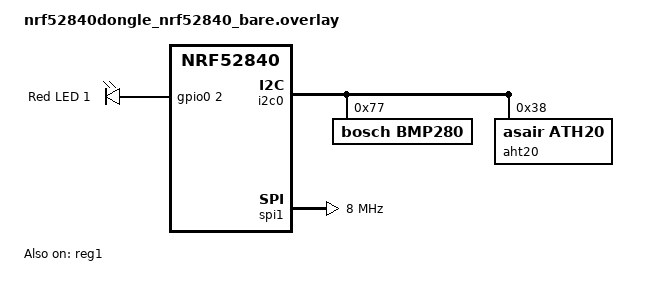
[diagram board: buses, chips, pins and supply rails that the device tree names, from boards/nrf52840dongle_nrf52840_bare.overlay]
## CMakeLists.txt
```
# SPDX-License-Identifier: Apache-2.0

cmake_minimum_required(VERSION 3.20.0)
find_package(Zephyr REQUIRED HINTS $ENV{ZEPHYR_BASE})
project(BtHome)

set(TARGET app)
add_subdirectory(drivers)
add_subdirectory(library/bmp280)
add_subdirectory(library/aht20)
include_directories($<BUILD_INTERFACE:${CMAKE_CURRENT_SOURCE_DIR}/include>
                    $<BUILD_INTERFACE:${CMAKE_CURRENT_SOURCE_DIR}/library/bmp280/include>
                    $<BUILD_INTERFACE:${CMAKE_CURRENT_SOURCE_DIR}/library/aht20/include>
                    #$<BUILD_INTERFACE:${CMAKE_CURRENT_SOURCE_DIR}/library/waveshare/include>
                    $<BUILD_INTERFACE:${CMAKE_CURRENT_SOURCE_DIR}/drivers/include>
                    $<BUILD_INTERFACE:${CMAKE_CURRENT_SOURCE_DIR}/images>)
target_sources(${TARGET} PRIVATE
  src/main.cpp
  src/interface.c
  src/display.cpp
  images/dashboard.c
  )
#target_link_directories(${TARGET} PRIVATE ~/project/build/library/bmp280)
target_link_libraries(${TARGET} PRIVATE drivers bmp280 aht20)
```

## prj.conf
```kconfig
#
# Copyright (c) 2023 Nordic Semiconductor ASA
#
# SPDX-License-Identifier: Apache-2.0
#

CONFIG_BT=y
CONFIG_BT_PERIPHERAL=y
CONFIG_BT_DEVICE_NAME="BTHome"
CONFIG_CPP=y
CONFIG_I2C=y
CONFIG_SPI=y
CONFIG_GPIO=y

CONFIG_LOG=y
#CONFIG_LOG_MODE_IMMEDIATE=y
CONFIG_BT_LOG_LEVEL_INF=y
CONFIG_BT_CTLR_ADVANCED_FEATURES=y
CONFIG_BT_CTLR_ASSERT_OVERHEAD_START=n
CONFIG_CBPRINTF_FP_SUPPORT=y
CONFIG_MAIN_STACK_SIZE=4096

# LVGL - minimal build, only the label widget enabled
CONFIG_DISPLAY=y
CONFIG_LVGL=y
CONFIG_LV_CONF_MINIMAL=y 
CONFIG_LV_USE_LABEL=y
CONFIG_LV_USE_IMAGE=y
CONFIG_LV_Z_MEM_POOL_SIZE=24000
# Render the whole 300x400 screen in a single buffer/flush instead of
# chunking into multiple VDB-sized bands (the default 10%). Bands
# beyond the first have been observed to get the wrong, byte-rounded
# width from LVGL's chunk-splitting path even though the equivalent
# single-region write is correct - going single-shot sidesteps that
# entirely. 300*400/8 + 8 = 15008 bytes; MEM_POOL_SIZE bumped above to
# fit it plus headroom for other LVGL allocations.
#CONFIG_LV_Z_AUTO_INIT=n
CONFIG_LV_Z_VDB_SIZE=100
CONFIG_MAIN_STACK_SIZE=4096
CONFIG_LV_COLOR_DEPTH_1=y
CONFIG_LV_USE_THEME_MONO=y
#CONFIG_DISPLAY_LOG_LEVEL_DBG=y
CONFIG_LV_FONT_MONTSERRAT_36=y
CONFIG_LV_FONT_DEFAULT_MONTSERRAT_36=y
CONFIG_DISPLAY_COLOR_PALETTE=n


#CONFIG_KERNEL_LOG_LEVEL_DBG=y
CONFIG_THREAD_NAME=y
CONFIG_USB_DEVICE_STACK_NEXT=n
```

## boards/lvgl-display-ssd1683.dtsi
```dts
/*
 * Copyright (c) 2025 Cactus Engineering S.L
 *
 * SPDX-License-Identifier: Apache-2.0
 *
 * Common devicetree fragment wiring up the Solomon Systech SSD1683
 * EPD controller (4.2inch e-Paper panel, 400x300 marketed / 300x400
 * native per the driver's quirks bounds - see the width/height note
 * below) over MIPI-DBI Mode C (4-wire SPI), using Zephyr's mainline
 * drivers/display/ssd16xx.c. Support for "solomon,ssd1683" is now provided
 * natively by upstream Zephyr `main` - see drivers/display/Kconfig.ssd16xx
 * and drivers/display/ssd16xx.c. (It previously had to be backported
 * locally; see Docs/SSD1683_bringup_bugs_and_fixes.md #1.)
 *
 * "spi1" must already be configured (pinctrl, cs-gpios, status =
 * "okay") by the including board overlay, same as lvgl-display.dtsi
 * and lvgl-display-uc8176.dtsi require today.
 *
 * Only one panel's fragment (this one, lvgl-display.dtsi, or
 * lvgl-display-uc8176.dtsi) should be included by a given board
 * overlay - only one chosen zephyr,display can be active per build.
 */

/ {
	chosen {
		zephyr,display = &epd_ssd1683;
	};

	mipi_dbi_epd_ssd1683: mipi_dbi_epd_ssd1683 {
		compatible = "zephyr,mipi-dbi-spi";
		spi-dev = <&spi1>;
		#address-cells = <1>;
		#size-cells = <0>;
		write-only;
		dc-gpios = <&gpio0 29 GPIO_ACTIVE_HIGH>;  /* 22 */
		reset-gpios = <&gpio0 3 GPIO_ACTIVE_LOW>; /* 26 */

		epd_ssd1683: ssd1683@0 {
			compatible = "solomon,ssd1683";
			reg = <0>;
			mipi-max-frequency = <4000000>;			

			/*
			 * Unlike JD79661/UC81xx (active low), the BUSY
			 * pin of SSD16XX is active HIGH per
			 * solomon,ssd16xx-common.yaml - active high is
			 * correct here for a direct connection, no
			 * inversion needed.
			 */
			busy-gpios = <&gpio0 28 GPIO_ACTIVE_HIGH>; /* 24 */

			/*
			 * Selects the controller's internal temperature
			 * sensor (0x80, matching both Waveshare's official
			 * EPD_4in2_V2.c reference driver and the real
			 * "beaglebadge" board upstream that also uses this
			 * chip family). Without this, ssd16xx.c's
			 * load_temp/LOAD_TEMPERATURE gating (see
			 * ssd16xx_update_display() and ssd16xx_load_lut() in
			 * ssd16xx.c) stays false, so every refresh runs
			 * without the LOAD_TEMPERATURE bit set in the Display
			 * Update Control 2 command and falls back to
			 * ssd16xx_load_ws_from_otp()'s hardcoded generic 25C
			 * waveform load instead of a real sensor-selected one.
			 * Confirmed by computing the actual byte our driver
			 * sends for that command: without tssv it's 0xD7/0xDF
			 * for full/partial; Waveshare's reference sends
			 * 0xF7/0xFF for the equivalent calls - the only
			 * difference is this exact bit.
			 */
			tssv = <0x80>;

			/*
			 * Panel is native 300x400 portrait; keep width/
			 * height at that native, proven-safe size (matches
			 * the quirks bounds - see the comment below) rather
			 * than declaring the swapped 400x300 landscape size
			 * directly. `rotation` handles the landscape mapping
			 * instead: it makes ssd16xx_set_window()'s bounds
			 * check transpose which axis desc->width/height get
			 * validated against (x/width vs. panel_h,
			 * config->height rounded to a page boundary; y/height
			 * vs. config->width - see ssd16xx_write() in
			 * ssd16xx.c), and ssd16xx_get_capabilities() has been
			 * updated to report x_resolution/y_resolution
			 * transposed to match for ROTATED_90/270, so LVGL
			 * sees a genuine 400x300 (well, panel_h x
			 * config->width) landscape canvas with no LVGL-side
			 * rotation needed (that was tried and reverted - see
			 * main.c and prj.conf: LV_DISPLAY_RENDER_MODE_FULL,
			 * required by lv_display_set_matrix_rotation(),
			 * bypasses the rounder callback our
			 * SCREEN_INFO_X_ALIGNMENT_WIDTH/MONO_VTILED fixes
			 * depend on).
			 *
			 * Direction (90 vs 270) is a guess pending real-
			 * hardware confirmation - swap if the image comes out
			 * mirrored or upside-down.
			 *
			 * The driver's quirks bounds for this chip are
			 * max_width=300, max_height=400 - swapped from the
			 * "400x300" marketed resolution, matching this native
			 * width/height.
			 */
			width = <300>;
			height = <400>;
			rotation = <90>;

			full {
				/*
				 * Otherwise falls back to OTP defaults, same
				 * as the reference-driver-free JD79661 full
				 * profile did before we added overrides.
				 *
				 * border-waveform matches Waveshare's
				 * EPD_4in2_V2.c reference driver, which
				 * always explicitly sets BorderWaveform
				 * (0x3C) to 0x05 in its full-refresh Init().
				 * Left unset, this stays at OTP/power-on
				 * default, which showed up on real hardware
				 * as a grayish frame around the screen's
				 * border after a full refresh (partial
				 * refresh doesn't show it, matching its own
				 * different override below).
				 */
				border-waveform = <0x05>;
			};

			partial {
				/*
				 * Must be present: per
				 * solomon,ssd16xx-common.yaml, "partial
				 * refresh will be disabled unless a partial
				 * refresh profile has been specified" - this
				 * is the whole reason this panel was chosen
				 * over the JD79661, so don't drop this node.
				 *
				 * border-waveform matches Waveshare's
				 * EPD_4in2_V2.c reference driver, which
				 * always explicitly sets BorderWaveform
				 * (0x3C) to 0x80 in EPD_4IN2_V2_PartialDisplay().
				 */
				border-waveform = <0x80>;
			};
		};
	};
};
```

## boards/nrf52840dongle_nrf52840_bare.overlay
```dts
#include "lvgl-display-ssd1683.dtsi"

&{/chosen}{
  zephyr,console = &uart0;        
  zephyr,shell-uart = &uart0;     
	zephyr,uart-mcumgr = &uart0;    
	zephyr,bt-mon-uart = &uart0;    
	zephyr,bt-c2h-uart = &uart0;	
};

/delete-node/ &usbd;


&uart0_default{
		group1 {
			psels = <NRF_PSEL(UART_TX, 0, 4)>;  /* 5 */
		};
    group2 {
			psels = <NRF_PSEL(UART_RX, 0, 5)>;  /* 7 */
			bias-pull-up;
		};
	};

&uart0_sleep {
		group1 {
			psels = <NRF_PSEL(UART_RX, 0, 8)>,
				<NRF_PSEL(UART_RTS, 0, 5)>,
				<NRF_PSEL(UART_CTS, 0, 7)>;
			low-power-enable;
		};

		group2 {
			psels = <NRF_PSEL(UART_TX, 0, 6)>;
			low-power-enable;
			bias-pull-up;
		};
	};

&pwm0_default {
		group1 {
			psels = <NRF_PSEL(PWM_OUT0, 0, 11)>,
				<NRF_PSEL(PWM_OUT1, 0,13)>,
				<NRF_PSEL(PWM_OUT2, 0, 14)>;
			nordic,invert;
		};
};

&pwm0_sleep {
		group1 {
			psels = <NRF_PSEL(PWM_OUT0, 0, 11)>,
				<NRF_PSEL(PWM_OUT1, 0, 13)>,
				<NRF_PSEL(PWM_OUT2, 0, 14)>;
			low-power-enable;
	};
};

&led1_red {
			gpios = <&gpio0 2 GPIO_ACTIVE_HIGH>;
			label = "Red LED 1";
		};

&i2c0_default{
	group1 {
			psels = <NRF_PSEL(TWIM_SDA, 0, 23)>, /* 25 */
				<NRF_PSEL(TWIM_SCL, 0, 24)>;       /* 27 */
	};
};	

&i2c0 {
	bmp280:bmp280@77{
		status = "okay";
		compatible = "bosch,bmp280";
		reg =<0x77>;
		mode = <3>;
		osrs-p = <5>;
		osrs-t = <3>;
		filter = <4>;
	};
	aht20:aht20@38{
		status = "okay";
		compatible = "asair,ath20";
		reg = <0x38>;
	};
};

&spi1_default{
	group1{
		psels = <NRF_PSEL(SPIM_SCK,0,14)>,  /* 14 */
						<NRF_PSEL(SPIM_MOSI,0,31)>; /* 18 */
	};
};


&spi1{
	cs-gpios =<&gpio0 30 GPIO_ACTIVE_LOW>; /* 20 */
	clock-frequency = <DT_FREQ_M(8)>;
};

&reg0{
	status="disabled";
};

&reg1{
	status="okay";
};
```

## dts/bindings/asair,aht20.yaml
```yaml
description: Asair aht20 humidity and temperature sensor

compatible: "asair,aht20"

include: [i2c-device.yaml, sensor-device.yaml]
```

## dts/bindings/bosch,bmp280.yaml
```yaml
description: |
  Bosch BMP280 pressure and temperature sensor accessed through I2C bus

compatible: "bosch,bmp280"

include: [i2c-device.yaml, sensor-device.yaml]

properties:
  osrs-p:
    type: int
    required: true
    description: Default pressure oversampling rate. Only the following values are

  osrs-t:
    type: int
    required: true
    description: Default pressure oversampling rate.

  mode:
    type: int
    required: true
    description: Power Modes

  filter:
    type: int
    required: true
    description: Filter settings
```

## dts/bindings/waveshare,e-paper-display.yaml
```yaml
description: GPIOs for the 2.15 Daveshare display

compatible: "waveshare,e-paper-display"
include: [spi-device.yaml]
properties:
  gpios:
    type: phandle-array
    required: true
    description: gpios use for the waveshare e-paper display

  gpio-names:
    type: string-array
    required: true
    description: Names mapping to each GPIO pin in the gpios array.
```

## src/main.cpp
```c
/* main.c - Application main entry point */

/*
 * Copyright (c) 2015-2016 Intel Corporation
 *
 * SPDX-License-Identifier: Apache-2.0
 */

#include <zephyr/types.h>
#include <stddef.h>
#include <string.h>
#include <errno.h>
#include <zephyr/sys/printk.h>
#include <zephyr/sys/byteorder.h>
#include <zephyr/kernel.h>
#include <zephyr/logging/log.h>
LOG_MODULE_REGISTER(main_app, LOG_LEVEL_ERR);
#include "bmp280.h"
#include "aht20.hpp"
#include "interface.h"
#include "bluetooth.h"
#include "display.h"

#define ENABLE_BLE

bmp280_sensors_data_t sensorsData;
uint32_t bmp280ErrorCounter = 0;
bmp280_handle_t handle;
bool bmp280_initialized = false;
static bool forceUpdate = false;

void DelayFunc(uint32_t ms);
void screenExample();

int main(int argc, char *argv[])
{

	uint16_t bTemp = 0;
	uint32_t bPress = 0;
	uint16_t bHum = 0;
	int err = 0;
	float altitudeHypsometric;
	bmp280_error_code_t error;
	bmp280_error_code_t InitializeAndConfigureBMP280(void);

	aht20 *aht20Sensor = aht20::getInstance();
#ifdef ENABLE_BLE			
	if ((err = initBluetooth()) < 0)
		LOG_ERR("Bluetooth Init Error = %" PRIo8, err);
#endif		

	handle.dependency_interface.bmp280_interface_init = bmp280_i2c_init;
	handle.dependency_interface.bmp280_interface_deinit = bmp280_i2c_deinit;
	handle.dependency_interface.bmp280_write_array = bmp280_write_array;
	handle.dependency_interface.bmp280_read_array = bmp280_read_array;
	handle.dependency_interface.bmp280_delay_function = delay_function;
	handle.dependency_interface.bmp280_power_function = power_function;

	while(1)
	{

		if (!bmp280_initialized)
		{			
			if ((error = InitializeAndConfigureBMP280()) != BMP280_ERROR_OK)
			{
				bmp280_initialized = false;				
				LOG_ERR("BMP280 Initialization Error = %" PRIu32, error);
				display_bmp280_dashes();
			}
			else
			{
				bmp280_initialized = true;	
				bmp280ErrorCounter = 0;	
				forceUpdate=true;			
				LOG_DBG("BMP280 Initialized");
			}
		}
		
		if(bmp280_initialized)
		{						
			if (bmp280_get_all(&handle, &sensorsData) != BMP280_ERROR_OK)
			{	
				
				bmp280ErrorCounter++;
				if (bmp280ErrorCounter > 10)
				{
					bmp280_initialized = false;	
					bmp280ErrorCounter = 10;	
					forceUpdate=true;				
					display_bmp280_dashes();
				}				
				LOG_ERR("bmp280 Reading error");				
			}
			else
			{
				bmp280_calculate_altitude_hypsometric(&handle, &altitudeHypsometric, sensorsData.pressure, sensorsData.temperature);
				bmp280ErrorCounter=0;
				bTemp = (uint16_t)(sensorsData.temperature * 100);
				bPress = (uint32_t)(sensorsData.pressure);
				bHum = (uint32_t)(aht20Sensor->ReadHumidity() * 100);
#ifdef ENABLE_BLE				
				updateBluetoothData((uint8_t *)&bTemp, (uint8_t *)&bPress, (uint8_t *)&bHum);
#endif			
				display_update_readings(sensorsData.temperature,
																sensorsData.pressure,
																aht20Sensor->ReadHumidity(),
															  forceUpdate);

			  forceUpdate = false;
				LOG_DBG("[bmp20]Temperature = %f °C", (double)sensorsData.temperature);
				LOG_DBG("[bmp20]Pressure = %" PRIu32 "Pa", sensorsData.pressure);
				LOG_DBG("[bmp20]Altitude (quick) = %f m", (double)sensorsData.altitude);
				LOG_DBG("[bmp20]Altitude (hypsometric) = %f m", (double)altitudeHypsometric);
			}		
		}

		/*******************************************************/
		if(aht20Sensor->getStatus() == aht20::INITIALIZED)
		{
			if(aht20Sensor->TriggerMeasurement(DelayFunc, 100) == 0)
			{

				LOG_DBG("*************************************");
				LOG_DBG("[aht20] Humidity = %f %%", (double)aht20Sensor->ReadHumidity());
				LOG_DBG("[aht20] Temperature = %f °C", (double)aht20Sensor->ReadTemperature());
			}
			else
			{
				uint8_t count = aht20Sensor->getErrorCount();
				aht20Sensor->setErrorCount(++count);
				if(aht20Sensor->getErrorCount() > aht20::MAXERROR)
				{
					aht20Sensor->setStatus(aht20::UNINITIALIZED);
					display_aht20_dashes();
				}
			}
		}
		else
		{
			if(aht20Sensor->Init()==0)
			{
				aht20Sensor->setStatus(aht20::INITIALIZED);
				forceUpdate=true;
			}
			else
			{
				display_aht20_dashes();	
		 		LOG_ERR("Error Initializing aht20 Sensor");
			}
		}
		k_sleep(K_SECONDS(2));
	}
	return 0;
}

void DelayFunc(uint32_t ms)
{
	k_msleep((int32_t)ms);
}

bmp280_error_code_t InitializeAndConfigureBMP280()
{
	bmp280_error_code_t error = BMP280_ERROR_OK;
	LOG_DBG("Initializing BMP280");
		
	if( (error = bmp280_init(&handle, BMP280_I2C, BMP280_I2C_ADDRESS_2) )!= BMP280_ERROR_OK)
		goto exit;
	if((error = bmp280_set_mode(&handle, BMP280_MODE_NORMAL)) != BMP280_ERROR_OK)
		goto exit;
	if((error = bmp280_set_temperature_oversampling(&handle, BMP280_OVERSAMPLING_4X)) != BMP280_ERROR_OK)
		goto exit;
	if((error = bmp280_set_pressure_oversampling(&handle, BMP280_OVERSAMPLING_16X)) != BMP280_ERROR_OK)
		goto exit;
	if((error = bmp280_set_standby_time(&handle, BMP280_T_STANDBY_250MS)) != BMP280_ERROR_OK)
		goto exit;
	if((error = bmp280_set_filter_coefficient(&handle, BMP280_FILTER_16X)) != BMP280_ERROR_OK)
		goto exit;

exit:
	return error;

}
```

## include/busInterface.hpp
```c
#pragma once
#include <stdint.h>
#include <stddef.h>

class busInterface
{

public:
  virtual int8_t Write(uint8_t *buffer, size_t len) = 0;
  virtual int8_t Read(uint8_t *buffer, size_t len) = 0;
  virtual int8_t WriteRead(uint8_t *, size_t , uint8_t *, size_t ) = 0;
  virtual void SetDevice(void *)=0;
};
```

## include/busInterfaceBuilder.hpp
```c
#pragma once
#include "busInterface.hpp"

class busInterfaceBuilder
{

public:
  virtual ~busInterfaceBuilder() {};
  virtual busInterface *Build(void) const = 0;
};
```

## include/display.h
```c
#pragma once

#include <stdint.h>

/*
 * Publishes the latest sensor readings to the display thread. Non-blocking -
 * safe to call from any thread. Only the most recent reading is kept; the
 * display thread redraws a label only when its rounded integer value has
 * changed.
 */
void display_update_readings(float temperature_c, uint32_t pressure_pa, float humidity_pct);
void display_show_dashes();
```

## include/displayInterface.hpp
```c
#pragma once

template <typename typeErr>
class displayInterface{

public:
  virtual ~displayInterface()=default;
  virtual typeErr SetInterface(busInterface *)=0;
  virtual typeErr Init(void) = 0;
  virtual typeErr Update(void)=0;
  virtual typeErr PowerOn(void)=0;
  virtual typeErr PowerOff(void)=0;
  virtual typeErr ClearScreen(void)=0;

};
```

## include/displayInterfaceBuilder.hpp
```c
#pragma once
#include "displayInterface.hpp"

template <typename typeErr>
class displayInterfaceBuilder{

public:
  //virtual ~displayInterfaceBuilder<typeErr>(){};
  virtual displayInterface<typeErr>*Build() const =0;
};
```

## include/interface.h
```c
#ifndef __INTERFACE_HPP__
#define __INTERFACE_HPP__

#include <stdint.h>
#ifdef __cplusplus
extern "C"
{
#endif

  int8_t bmp280_i2c_init(uint8_t deviceAddress);
  int8_t bmp280_i2c_deinit(uint8_t deviceAddress);
  int8_t bmp280_read_array(uint8_t deviceAddress, uint8_t startRegisterAddress, uint8_t *data, uint8_t dataLength);
  int8_t bmp280_write_array(uint8_t deviceAddress, uint8_t startRegisterAddress, uint8_t *data, uint8_t dataLength);
  int8_t delay_function(uint32_t delayMS);
  int8_t power_function(float x, float y, float *result);
  int8_t getMode();

#ifdef __cplusplus
}
#endif

#endif
```

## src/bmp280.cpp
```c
#include "bmp280.h"

bmp280::bmp280()
{
  _interface = nrfI2c::getInstance();
}

int8_t bmp280::configure()
{
  
  return 0;
}

int8_t bmp280::ReadPressure()
{
  return 0;
}

int8_t bmp280::ReadTemperature()
{
  return 0;
}

int8_t bmp280::ReadDeviceCode(uint8_t *data)
{
  uint8_t buffer=idReg;
  int8_t err;
  
  err = _interface->Write(&buffer,1);
  if (err<0) return err;
  err = _interface->Read(&buffer, 1);
  if (err<0) return err;
  
  *data=buffer;
  return 0;
}
```

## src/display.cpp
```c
#include <stdint.h>
#include <zephyr/device.h>
#include <zephyr/devicetree.h>
#include <zephyr/drivers/display.h>
#include <zephyr/kernel.h>
#include <zephyr/logging/log.h>
#include <lvgl.h>
#include "display.h"

LOG_MODULE_REGISTER(main, LOG_LEVEL_DBG);

LV_IMAGE_DECLARE(dashboard);

#define STACKSIZE 4096
#define PRIORITY 10
/*
 * Card layout measured directly from images/dashboard.png (400x300): three
 * 111px-wide cards, each with an icon glyph ending by y=146 and its unit
 * label ("C" / "%" / "mBar") starting by y=227, leaving a shared y=146..225
 * gap for a value readout between them.
 */
#define CARD_WIDTH 111
#define CARD1_X 28
#define CARD2_X 148
#define CARD3_X 266
#define VALUE_LABEL_Y 178

const struct device *display_dev = DEVICE_DT_GET(DT_CHOSEN(zephyr_display));
static lv_obj_t *temperature_label;
static lv_obj_t *humidity_label;
static lv_obj_t *pressure_label;
static bool forceUpdate=false;
bool displayReady=false;

struct sensor_readings
{
  float temperature_c;
  uint32_t pressure_pa;
  float humidity_pct;
};

K_MSGQ_DEFINE(sensor_readings_msgq, sizeof(struct sensor_readings), 1, 4);

void displayTask(void *dummy1, void *dummy2, void *dummy3);

void display_update_readings(float temperature_c, uint32_t pressure_pa, float humidity_pct, bool update)
{
  struct sensor_readings readings = {temperature_c, pressure_pa, humidity_pct};

  k_msgq_purge(&sensor_readings_msgq);
  k_msgq_put(&sensor_readings_msgq, &readings, K_NO_WAIT);
  forceUpdate = update;
}

static int round_to_int(float value)
{
  return (int)(value + (value >= 0.0f ? 0.5f : -0.5f));
}

K_THREAD_DEFINE(display, STACKSIZE,
                displayTask, NULL, NULL, NULL,
                PRIORITY, 0, 0);

static lv_obj_t *create_value_label(lv_obj_t *parent, lv_coord_t x)
{
  lv_obj_t *label = lv_label_create(parent);

  lv_obj_set_style_bg_opa(label, LV_OPA_TRANSP, LV_PART_MAIN);
  lv_obj_set_style_text_color(label, lv_color_black(), LV_PART_MAIN);
  lv_obj_set_style_text_font(label, &lv_font_montserrat_36, LV_PART_MAIN);
  lv_obj_set_style_text_align(label, LV_TEXT_ALIGN_CENTER, LV_PART_MAIN);
  lv_obj_set_width(label, CARD_WIDTH);
  lv_obj_set_pos(label, x, VALUE_LABEL_Y);
  lv_label_set_text(label, "--");

  return label;
}

void displayTask(void *dummy1, void *dummy2, void *dummy3)
{

  if (!device_is_ready(display_dev))
  {
    LOG_ERR("Display device not ready");
    return;
  }

  lv_obj_t *screen = lv_screen_active();

  /*
   * No theme is ever applied (no lv_display_set_theme() call anywhere),
   * so the screen keeps LVGL's library-wide default style, where bg_opa
   * is LV_OPA_TRANSP. Force it to opaque white so every render writes
   * well-defined white pixels instead of leftover/garbage ones.
   */
  lv_obj_set_style_bg_color(screen, lv_color_white(), LV_PART_MAIN);
  lv_obj_set_style_bg_opa(screen, LV_OPA_COVER, LV_PART_MAIN);

  /*
   * ssd16xx_init() leaves blanking_on = false, so the very first flush
   * below would otherwise go out through the PARTIAL profile. Explicit
   * blanking_on()/blanking_off() around the boot render forces the FULL
   * profile and a real clearing refresh - see "7. Blanking on/off no-op"
   * in Docs/SSD1683_bringup_bugs_and_fixes.md.
   */
  display_blanking_on(display_dev);

  /*
   * The very first full-screen invalidation of the program's lifetime
   * never reaches lvgl_rounder_cb_mono() and gets permanently cached
   * with the wrong, byte-rounded bounds - see "5. First invalidation
   * of the program's lifetime never reaches the rounder" in
   * Docs/SSD1683_bringup_bugs_and_fixes.md. Burn a disposable
   * invalidate+render cycle here, before anything is on screen, so
   * the real image render below is the second invalidation instead.
   */
  lv_obj_invalidate(screen);
  lv_timer_handler();

  lv_obj_t *img = lv_image_create(screen);

  lv_image_set_src(img, &dashboard);
  lv_obj_center(img);

  /*
   * Value readouts sit on top of the static background image, in the
   * gap between each card's icon and its unit label.
   */
  temperature_label = create_value_label(screen, CARD1_X);
  humidity_label = create_value_label(screen, CARD2_X);
  pressure_label = create_value_label(screen, CARD3_X);

  lv_timer_handler();

  /*
   * Turning blanking back off triggers the actual full-refresh activate
   * of everything written above, cleanly clearing the panel instead of
   * diffing against its unknown power-up RAM state.
   */
  display_blanking_off(display_dev);

  int last_temperature_c = INT32_MIN;
  int last_pressure_mbar = 0;
  int last_humidity_pct = 0;

  displayReady=true;

  while (1)
  {
    struct sensor_readings readings;

    if (k_msgq_get(&sensor_readings_msgq, &readings, K_MSEC(1000)) != 0)
      continue;

    int temperature_c = round_to_int(readings.temperature_c);
    int pressure_mbar = round_to_int((float)readings.pressure_pa / 100.0f);
    int humidity_pct = round_to_int(readings.humidity_pct);
    bool changed = false;

    if (temperature_c != last_temperature_c || forceUpdate)
    {      
      lv_label_set_text_fmt(temperature_label, "%d", temperature_c);
      last_temperature_c = temperature_c;      
      changed = true;
    }

    if (pressure_mbar != last_pressure_mbar || forceUpdate)
    {
      lv_label_set_text_fmt(pressure_label, "%d", pressure_mbar);
      last_pressure_mbar = pressure_mbar;
      changed = true;
    }

    if (humidity_pct != last_humidity_pct || forceUpdate)
    {
      lv_label_set_text_fmt(humidity_label, "%d", humidity_pct);
      last_humidity_pct = humidity_pct;
      changed = true;
    }

    if (changed)
      lv_timer_handler();
  }
}

void display_bmp280_dashes()
{
  if(displayReady)
  {
    lv_label_set_text(temperature_label, "--");
    lv_label_set_text(pressure_label, "--");  
    lv_timer_handler();
  }

}

void display_aht20_dashes()
{
  if(displayReady)
  {
    lv_label_set_text(humidity_label, "--");
    lv_timer_handler();
  }

}
```

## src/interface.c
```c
/*BMP280 barometric pressure and temperature sensor C Driver*/
/*Reza Ebrahimi - https://github.com/ebrezadev */
/*Version 5.0*/
#include <stdint.h>
#include <stddef.h>
#include <string.h>
#include "nrfI2c.h"
#include "interface.h"
#include <math.h>

#define I2C_SPEED 400000
// struct i2c_dt_spec device = I2C_DT_SPEC_GET(DT_NODELABEL(bmp280));

/*writes an array (data[]) of arbitrary size (dataLength) to I2C address (deviceAddress), starting from an internal register address (startRegisterAddress)*/
int8_t bmp280_write_array(uint8_t deviceAddress, uint8_t startRegisterAddress, uint8_t *data, uint8_t dataLength)
{
	uint8_t buffer[20] = {0};
	buffer[0] = startRegisterAddress;
	memcpy(&buffer[1], data, dataLength);
	return cppI2cWrite(buffer, dataLength + 1);
}

/*reads an array (data[]) of arbitrary size (dataLength) from I2C address (deviceAddress), starting from an internal register address (startRegisterAddress)*/
int8_t bmp280_read_array(uint8_t deviceAddress, uint8_t startRegisterAddress, uint8_t *data, uint8_t dataLength)
{
	int8_t err = 0;

	if ((err = cppI2cWrite(&startRegisterAddress, 1)) != 0)
		return err;
	return cppI2cRead(data, dataLength);
}

/*initiates the I2C peripheral and sets its speed*/
int8_t bmp280_i2c_init(uint8_t deviceAddress)
{
	return cppIsI2cReady();
}

/*initiates the I2C peripheral and sets its speed*/
int8_t bmp280_i2c_deinit(uint8_t deviceAddress)
{
	return 0;
}

/*a delay function for milliseconds delay*/
int8_t delay_function(uint32_t delayMS)
{
	zephyrDelay(delayMS);
	return 0;
}

/*implements a power function (used in altitude calculation)*/
int8_t power_function(float x, float y, float *result)
{
	*result = pow(x, y);

	return 0;
}
```

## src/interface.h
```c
#ifndef __INTERFACE_HPP__
#define __INTERFACE_HPP__

#include <stdint.h>
#ifdef __cplusplus
extern "C"
{
#endif

  int bmp280_i2c_init(uint8_t deviceAddress);
  int bmp280_i2c_deinit(uint8_t deviceAddress);
  int bmp280_read_array(uint8_t deviceAddress, uint8_t startRegisterAddress, uint8_t *data, uint8_t dataLength);
  int bmp280_write_array(uint8_t deviceAddress, uint8_t startRegisterAddress, uint8_t *data, uint8_t dataLength);
  int delay_function(uint32_t delayMS);
  int power_function(float x, float y, float *result);
  int getMode();

#ifdef __cplusplus
}
#endif

#endif
```
